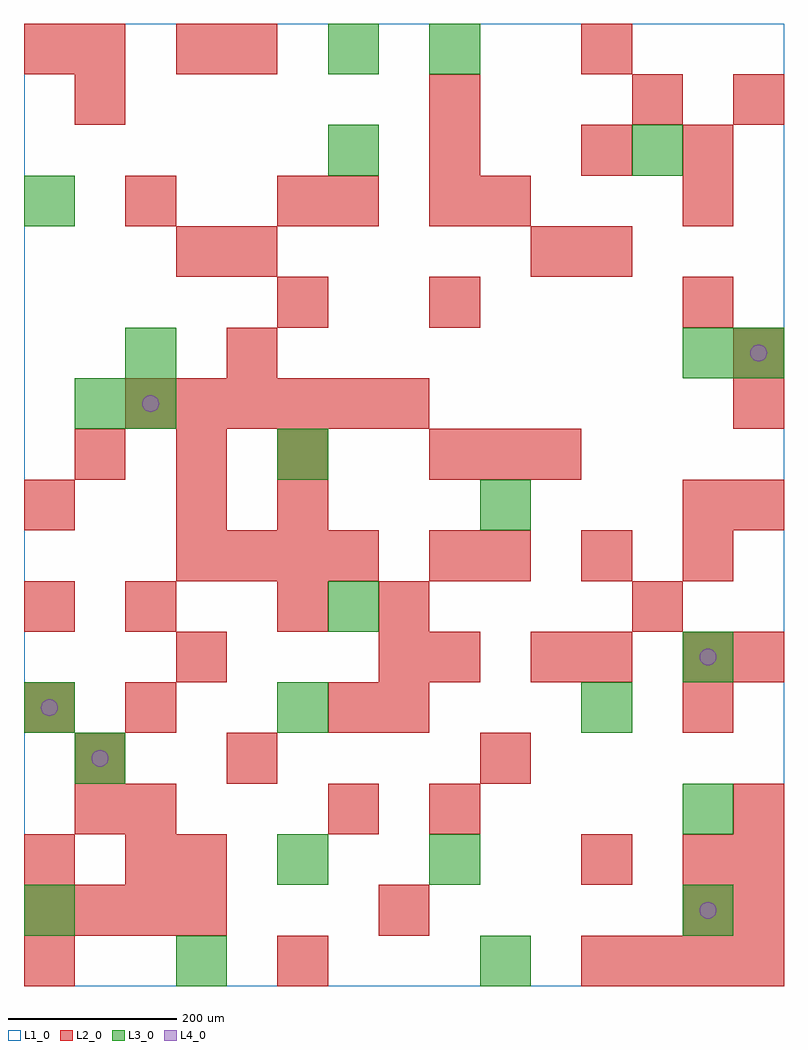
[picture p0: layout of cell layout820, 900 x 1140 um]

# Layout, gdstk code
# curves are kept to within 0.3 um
import gdstk
lib = gdstk.Library(unit=1e-6, precision=1e-09)
def R(c, l, rs):  # rectangles x0, y0, x1, y1
    for r in rs: c.add(gdstk.rectangle(r[:2], r[2:], *l))
def A(c, l, x, y, w, h, nx, ny, dx, dy):  # array of equal rectangles
    R(c, l, [(x+i*dx, y+j*dy, x+i*dx+w, y+j*dy+h) for i in range(nx) for j in range(ny)])
def P(c, l, *ps):  # polygons
    for p in ps: c.add(gdstk.Polygon(p, *l))
L1_0 = (1, 0)
L2_0 = (2, 0)
L3_0 = (3, 0)
L4_0 = (4, 0)

layout820 = lib.new_cell('layout820')
R(layout820, L1_0, [(0,0,900,1140)])
A(layout820, L2_0, 660, 0, 60, 60, 4, 1, 60, 0)
A(layout820, L2_0, 0, 60, 60, 60, 4, 1, 60, 0)
A(layout820, L2_0, 840, 60, 60, 60, 1, 3, 0, 60)
A(layout820, L2_0, 120, 180, 60, 60, 1, 3, 0, 120)
A(layout820, L2_0, 0, 300, 60, 60, 1, 3, 0, 120)
A(layout820, L2_0, 420, 300, 60, 60, 1, 3, 0, 60)
A(layout820, L2_0, 180, 480, 60, 60, 4, 1, 60, 0)
A(layout820, L2_0, 540, 480, 60, 60, 3, 1, 120, 0)
A(layout820, L2_0, 60, 600, 60, 60, 3, 1, 120, 0)
A(layout820, L2_0, 480, 600, 60, 60, 3, 1, 60, 0)
A(layout820, L2_0, 120, 660, 60, 60, 6, 1, 60, 0)
A(layout820, L2_0, 660, 840, 60, 60, 1, 3, 0, 120)
A(layout820, L2_0, 480, 900, 60, 60, 1, 3, 0, 60)
R(layout820, L2_0, [(0,0,60,60), (300,0,360,60), (420,60,480,120), (780,60,840,120), (0,120,60,180), (120,120,180,180), (180,120,240,180), (660,120,720,180), (780,120,840,180), (60,180,120,240), (360,180,420,240), (480,180,540,240), (60,240,120,300), (240,240,300,300), (540,240,600,300), (360,300,420,360), (780,300,840,360), (180,360,240,420), (480,360,540,420), (600,360,660,420), (660,360,720,420), (780,360,840,420), (840,360,900,420), (300,420,360,480), (720,420,780,480), (480,480,540,540), (180,540,240,600), (300,540,360,600), (780,540,840,600), (840,540,900,600), (840,660,900,720), (240,720,300,780), (840,720,900,780), (300,780,360,840), (480,780,540,840), (780,780,840,840), (180,840,240,900), (240,840,300,900), (600,840,660,900), (120,900,180,960), (300,900,360,960), (360,900,420,960), (540,900,600,960), (780,900,840,960), (780,960,840,1020), (60,1020,120,1080), (720,1020,780,1080), (840,1020,900,1080), (0,1080,60,1140), (60,1080,120,1140), (180,1080,240,1140), (240,1080,300,1140)])
R(layout820, L3_0, [(180,0,240,60), (540,0,600,60), (0,60,60,120), (780,60,840,120), (300,120,360,180), (480,120,540,180), (780,180,840,240), (60,240,120,300), (0,300,60,360), (300,300,360,360), (660,300,720,360), (780,360,840,420), (360,420,420,480), (540,540,600,600), (300,600,360,660), (60,660,120,720), (120,660,180,720), (120,720,180,780), (780,720,840,780), (840,720,900,780), (0,900,60,960), (360,960,420,1020), (720,960,780,1020), (360,1080,420,1140), (480,1080,540,1140)])
P(layout820, L4_0, [(40,330),(39.239,333.827),(37.071,337.071),(33.827,339.239),(30,340),(26.173,339.239),(22.929,337.071),(20.761,333.827),(20,330),(20.761,326.173),(22.929,322.929),(26.173,320.761),(30,320),(33.827,320.761),(37.071,322.929),(39.239,326.173)],
  [(100,270),(99.239,273.827),(97.071,277.071),(93.827,279.239),(90,280),(86.173,279.239),(82.929,277.071),(80.761,273.827),(80,270),(80.761,266.173),(82.929,262.929),(86.173,260.761),(90,260),(93.827,260.761),(97.071,262.929),(99.239,266.173)],
  [(160,690),(159.239,693.827),(157.071,697.071),(153.827,699.239),(150,700),(146.173,699.239),(142.929,697.071),(140.761,693.827),(140,690),(140.761,686.173),(142.929,682.929),(146.173,680.761),(150,680),(153.827,680.761),(157.071,682.929),(159.239,686.173)],
  [(820,90),(819.239,93.827),(817.071,97.071),(813.827,99.239),(810,100),(806.173,99.239),(802.929,97.071),(800.761,93.827),(800,90),(800.761,86.173),(802.929,82.929),(806.173,80.761),(810,80),(813.827,80.761),(817.071,82.929),(819.239,86.173)],
  [(820,390),(819.239,393.827),(817.071,397.071),(813.827,399.239),(810,400),(806.173,399.239),(802.929,397.071),(800.761,393.827),(800,390),(800.761,386.173),(802.929,382.929),(806.173,380.761),(810,380),(813.827,380.761),(817.071,382.929),(819.239,386.173)],
  [(880,750),(879.239,753.827),(877.071,757.071),(873.827,759.239),(870,760),(866.173,759.239),(862.929,757.071),(860.761,753.827),(860,750),(860.761,746.173),(862.929,742.929),(866.173,740.761),(870,740),(873.827,740.761),(877.071,742.929),(879.239,746.173)])

lib.write_gds('layout820.gds')
